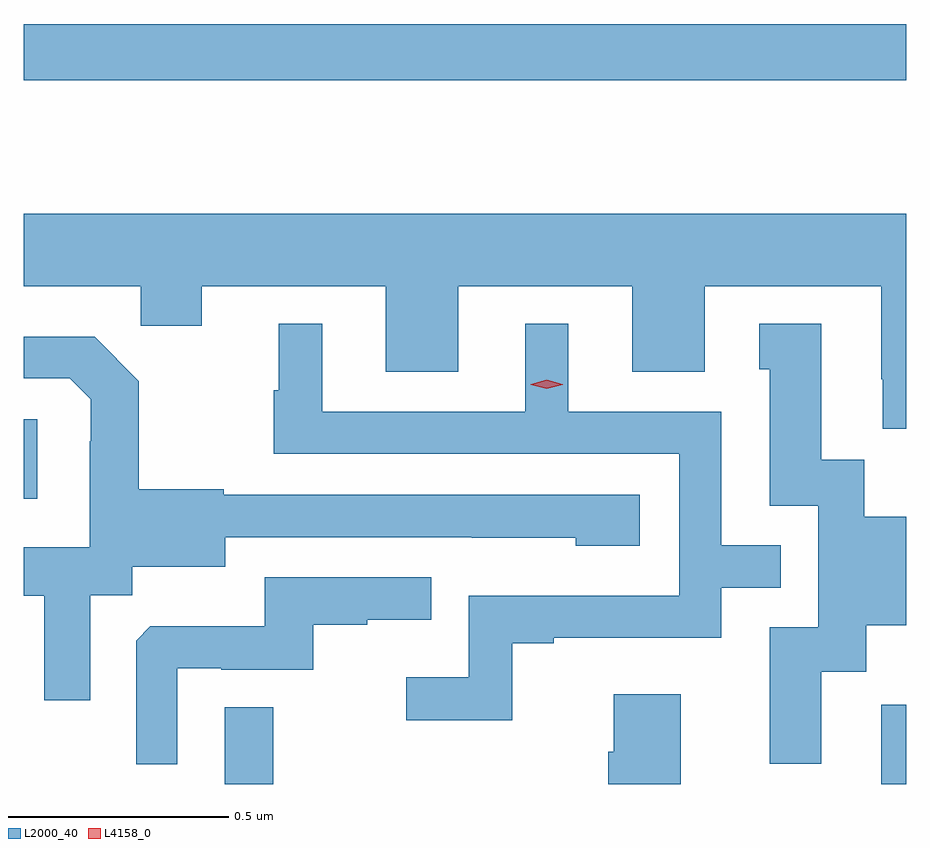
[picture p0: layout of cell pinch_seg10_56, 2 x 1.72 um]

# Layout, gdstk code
import gdstk
lib = gdstk.Library(unit=1e-6, precision=1e-09)
def R(c, l, rs):  # rectangles x0, y0, x1, y1
    for r in rs: c.add(gdstk.rectangle(r[:2], r[2:], *l))
def P(c, l, *ps):  # polygons
    for p in ps: c.add(gdstk.Polygon(p, *l))
L2000_40 = (2000, 40)
L4158_0 = (4158, 0)

pinch_seg10_56 = lib.new_cell('pinch_seg10_56')
R(pinch_seg10_56, L2000_40, [(842.61,1320.5,842.719,1320.674), (844.097,1320.5,844.154,1320.679), (842.154,1321.146,842.185,1321.326), (842.154,1322.094,844.154,1322.222)])
P(pinch_seg10_56, L2000_40, [(844.154,1321.792),(842.154,1321.792),(842.154,1321.628),(842.419,1321.628),(842.419,1321.538),(842.557,1321.538),(842.557,1321.628),(842.975,1321.628),(842.975,1321.434),(843.139,1321.434),(843.139,1321.628),(843.533,1321.628),(843.533,1321.434),(843.697,1321.434),(843.697,1321.628),(844.097,1321.628),(844.097,1321.417),(844.1,1321.417),(844.1,1321.305),(844.154,1321.305)],
  [(843.961,1320.754),(844.063,1320.754),(844.063,1320.86),(844.154,1320.86),(844.154,1321.105),(844.059,1321.105),(844.059,1321.235),(843.961,1321.235),(843.961,1321.543),(843.821,1321.543),(843.821,1321.44),(843.845,1321.44),(843.845,1321.131),(843.954,1321.131),(843.954,1320.855),(843.845,1320.855),(843.845,1320.546),(843.961,1320.546)],
  [(843.261,1320.819),(843.355,1320.819),(843.355,1320.831),(843.735,1320.831),(843.735,1320.945),(843.869,1320.945),(843.869,1321.041),(843.735,1321.041),(843.735,1321.344),(843.388,1321.344),(843.388,1321.543),(843.29,1321.543),(843.29,1321.344),(842.83,1321.344),(842.83,1321.543),(842.732,1321.543),(842.732,1321.392),(842.721,1321.392),(842.721,1321.248),(843.639,1321.248),(843.639,1320.927),(843.162,1320.927),(843.162,1320.742),(843.021,1320.742),(843.021,1320.644),(843.261,1320.644)],
  [(842.305,1320.928),(842.4,1320.928),(842.4,1320.992),(842.611,1320.992),(842.611,1321.059),(843.169,1321.059),(843.169,1321.058),(843.405,1321.058),(843.405,1321.04),(843.55,1321.04),(843.55,1321.155),(842.607,1321.155),(842.607,1321.168),(842.415,1321.168),(842.415,1321.413),(842.315,1321.513),(842.154,1321.513),(842.154,1321.419),(842.259,1321.419),(842.306,1321.372),(842.306,1321.277),(842.304,1321.277),(842.304,1321.036),(842.154,1321.036),(842.154,1320.926),(842.201,1320.926),(842.201,1320.69),(842.305,1320.69)],
  [(842.502,1320.762),(842.602,1320.762),(842.602,1320.759),(842.81,1320.759),(842.81,1320.861),(842.933,1320.861),(842.933,1320.872),(843.077,1320.872),(843.077,1320.969),(842.7,1320.969),(842.7,1320.857),(842.441,1320.857),(842.409,1320.825),(842.409,1320.545),(842.502,1320.545)],
  [(843.643,1320.703),(843.491,1320.703),(843.491,1320.573),(843.479,1320.573),(843.479,1320.5),(843.643,1320.5)])
P(pinch_seg10_56, L4158_0, [(843.339,1321.396),(843.303,1321.405),(843.303,1321.406),(843.303,1321.406),(843.339,1321.416),(843.375,1321.406),(843.375,1321.406),(843.375,1321.405)])

lib.write_gds('pinch_seg10_56.gds')
